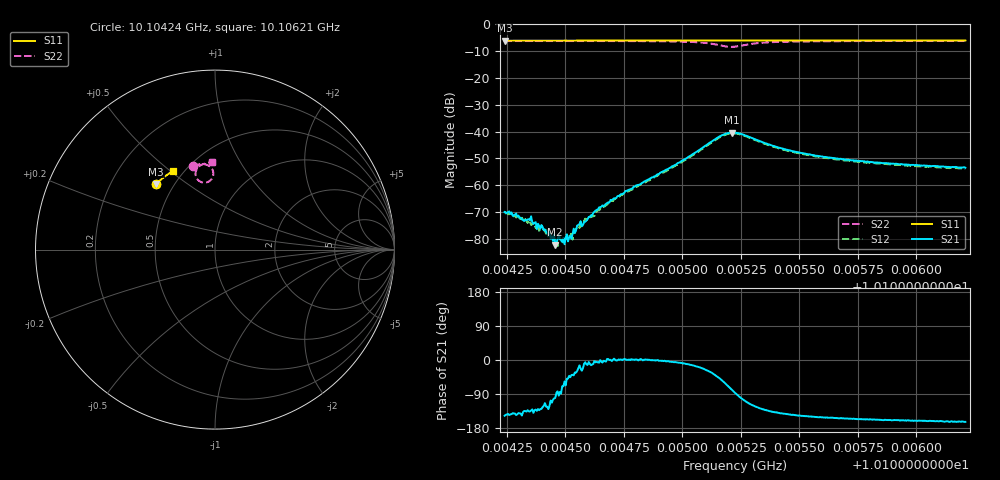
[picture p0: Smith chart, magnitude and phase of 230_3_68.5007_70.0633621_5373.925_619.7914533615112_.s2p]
#  HZ  S  RI  R  50.00
! Rohde & Schwarz Vector Network Analyzer
! Rohde-Schwarz,ZNB20-2Port,1311601062101988,3.16
! Created: UTC 3/20/2024, 5:14:01 PM
! freq[Hz]  re:S11  im:S11  re:S21  im:S21  re:S12  im:S12  re:S22  im:S22
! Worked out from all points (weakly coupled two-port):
!   401 points, 10.10424 GHz to 10.10621 GHz, reference 50 ohm
!   highest |S21| = -40.38 dB at 10.10521 GHz (marker M1); lowest = -82.1 dB at 10.10446 GHz (marker M2)
!   lowest |S11| = -6.2 dB at 10.10424 GHz (marker M3), VSWR 2.93, Z = 20 + j19.2 ohm
!   |S11| at or under -10 dB: nowhere
!   |S22| runs from -8.5 to -6.3 dB; largest |S21 - S12| = 0.001
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1.010424e10  -0.3286 0.3653  -0.000267 -0.000172  -0.000256 -0.000198  -0.1216 0.468
1.0104294e10  -0.3264 0.3676  -0.000209 -0.000156  -0.000188 -0.000177  -0.1177 0.4692
1.0104324e10  -0.3251 0.3688  -0.000151 -0.000154  -0.000149 -0.000153  -0.1154 0.4698
1.0104349e10  -0.3241 0.37  -0.00016 -0.000155  -0.000139 -0.000156  -0.1137 0.4703
1.0104457e10  -0.319 0.3743  -1.35e-05 -7.75e-05  -2.14e-05 -8.48e-05  -0.1053 0.4723
1.0104501e10  -0.3171 0.3763  4.09e-05 -9.6e-05  5.42e-05 -8.24e-05  -0.1017 0.4731
1.0104521e10  -0.3163 0.3768  7.95e-05 -8.05e-05  9.05e-05 -5.64e-05  -0.1002 0.4735
1.0104555e10  -0.3148 0.3785  0.00017 -6.82e-05  0.000169 -4.57e-05  -0.0973 0.4738
1.010457e10  -0.3141 0.3792  0.000151 -8.15e-05  0.000186 -2.58e-05  -0.0961 0.4743
1.010458e10  -0.3136 0.3794  0.000204 -3.55e-05  0.000214 -2.82e-05  -0.0952 0.4743
1.0104649e10  -0.3105 0.3823  0.000392 -1.34e-06  0.000361 -2.5e-06  -0.0888 0.4754
1.0104728e10  -0.3069 0.3854  0.000633 1.67e-05  0.000613 6.41e-05  -0.0811 0.4763
1.01049e10  -0.2989 0.392  0.00162 -5.74e-05  0.0016 0.000111  -0.0591 0.4758
1.0105067e10  -0.2906 0.3987  0.00416 -0.00138  0.00407 -0.000906  -0.0229 0.458
1.0105161e10  -0.2861 0.4017  0.00534 -0.00619  0.00569 -0.00539  -0.0135 0.4023
1.010521e10  -0.284 0.4032  0.00203 -0.00936  0.00284 -0.00876  -0.0539 0.373
1.0105225e10  -0.2833 0.4037  0.000579 -0.00951  0.00147 -0.00908  -0.07 0.3739
1.0105289e10  -0.2805 0.4061  -0.00344 -0.00703  -0.00267 -0.00711  -0.1072 0.411
1.0105412e10  -0.2747 0.411  -0.00382 -0.00327  -0.0034 -0.00348  -0.096 0.4566
1.0105555e10  -0.2674 0.4161  -0.00315 -0.00186  -0.00287 -0.00205  -0.0762 0.4722
1.0105885e10  -0.251 0.4274  -0.00236 -0.000931  -0.00219 -0.00109  -0.0442 0.4829
1.0106209e10  -0.2341 0.4376  -0.00203 -0.000614  -0.00189 -0.000754  -0.0193 0.4865
